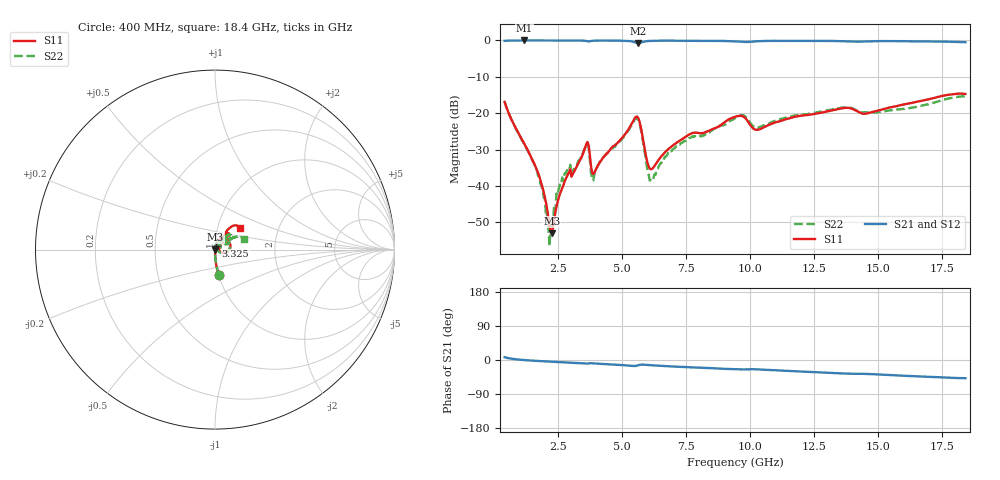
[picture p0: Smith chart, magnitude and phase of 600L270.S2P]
!  American Technical Ceramics  Date:  10/27/06
!  One Norden Lane
!  Huntington Station,  NY.  11746-2102
!  Tel:  (631) 622-4700  Fax:  (631) 622-4748
!  Part Number  600L270		Mounting Orientation:  Horizontal
!  Description: Ultra Low ESR Microwave capacitors
!  Application: Coupling, Bypass, Tuning, DC Block
!  Filters, Matching
# GHZ S DB R 50
! Freq  |S11|  S11 Ph  |S21|  S21 Ph  |S12|  S12 Ph  |S22|  S22 Ph
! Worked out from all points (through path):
!   401 points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, 400 MHz to 18.4 GHz, reference 50 ohm
!   highest |S21| = -0.01 dB at 1.165 GHz (marker M1); lowest = -0.8 dB at 5.62 GHz (marker M2)
!   group delay of S21, straight-line fit = 7.56 ps
!   lowest |S11| = -53.1 dB at 2.245 GHz (marker M3), VSWR 1.00, Z = 50.2 + j0.0212 ohm
!   |S11| at or under -10 dB: start of sweep to end of sweep
!   |S22| runs from -56.5 to -15.3 dB; largest |S21 - S12| = 0.0022
!   S11 on the Smith chart (normalised r, x): 400 MHz: 1.00, -0.29; 3.325 GHz: 1.01, +0.04; 18.4 GHz: 1.28, +0.32
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0.4  -16.89 -81.8  -0.11 7.4  -0.11 7.4  -16.83 -81.1
1.165  -28.37 -88.3  -0.01 -0.2  -0.02 -0.1  -28.65 -87.8
1.75  -37.23 -86.2  -0.01 -2.8  -0.02 -2.7  -37.48 -89.0
2.11  -48.59 -59.4  -0.01 -4.1  -0.01 -4.1  -51.57 -34.3
2.245  -53.06 5.4  -0.01 -4.5  -0.02 -4.5  -52.06 57.5
2.425  -45.73 61.3  -0.01 -5.2  -0.02 -5.2  -42.06 58.7
2.65  -40.70 77.3  -0.02 -6.0  -0.02 -5.9  -37.64 66.4
3.325  -33.25 74.8  -0.04 -8.3  -0.04 -8.3  -32.86 76.5
3.415  -31.94 73.2  -0.05 -8.7  -0.05 -8.7  -31.41 72.5
3.64  -27.92 41.6  -0.24 -9.5  -0.25 -9.5  -28.40 38.9
3.865  -36.74 43.8  -0.08 -8.9  -0.09 -8.9  -38.47 54.9
4.225  -32.45 70.7  -0.04 -10.4  -0.04 -10.4  -32.27 75.8
5.62  -21.31 6.7  -0.75 -14.0  -0.74 -13.9  -21.80 5.0
6.07  -35.23 9.7  -0.15 -13.5  -0.15 -13.5  -38.51 1.5
6.43  -32.68 53.4  -0.08 -15.2  -0.08 -15.1  -34.50 56.6
7.42  -26.72 63.8  -0.07 -18.6  -0.07 -18.6  -27.58 62.6
9.4  -20.99 52.7  -0.23 -24.5  -0.23 -24.4  -21.32 43.8
9.715  -20.88 38.5  -0.38 -25.1  -0.38 -25.0  -20.49 31.5
10.255  -24.57 42.7  -0.24 -24.7  -0.23 -24.6  -23.80 34.2
12.415  -20.32 54.9  -0.12 -31.7  -0.11 -31.6  -20.07 50.0
15.43  -18.44 58.0  -0.18 -39.7  -0.18 -39.7  -19.19 36.2
18.4  -14.71 40.8  -0.49 -48.0  -0.49 -48.0  -15.38 19.9
